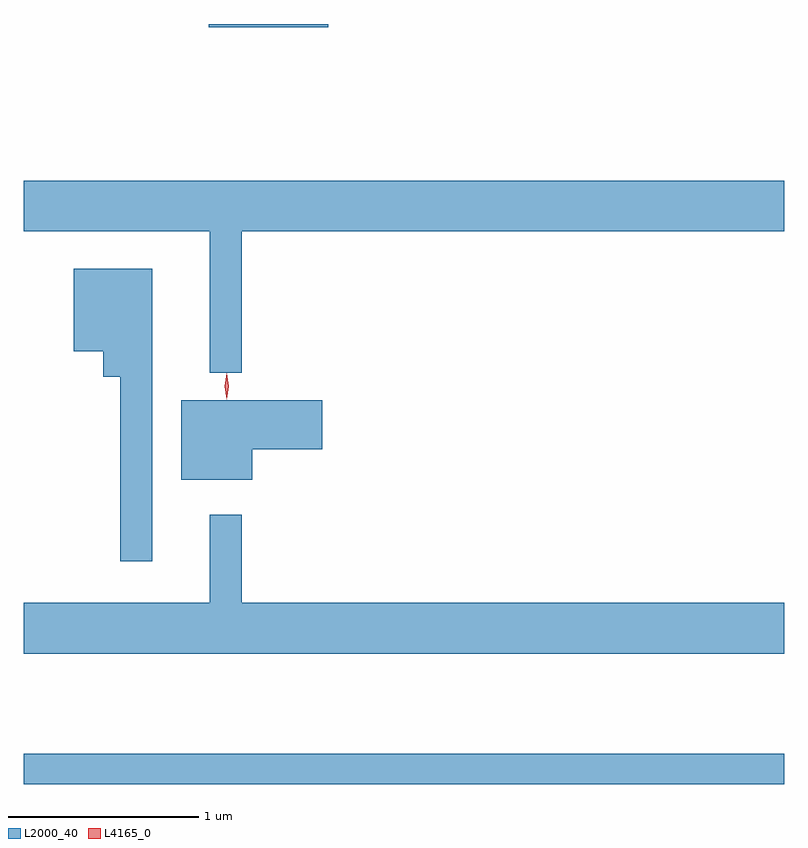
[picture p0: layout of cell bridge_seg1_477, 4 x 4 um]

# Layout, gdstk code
import gdstk
lib = gdstk.Library(unit=1e-6, precision=1e-09)
def R(c, l, rs):  # rectangles x0, y0, x1, y1
    for r in rs: c.add(gdstk.rectangle(r[:2], r[2:], *l))
def P(c, l, *ps):  # polygons
    for p in ps: c.add(gdstk.Polygon(p, *l))
L2000_40 = (2000, 40)
L4165_0 = (4165, 0)

bridge_seg1_477 = lib.new_cell('bridge_seg1_477')
R(bridge_seg1_477, L2000_40, [(617.593,898.891,621.593,899.049), (618.566,902.871,619.194,902.887)])
P(bridge_seg1_477, L2000_40, [(618.739,901.796),(621.593,901.796),(621.593,902.064),(617.593,902.064),(617.593,901.796),(618.571,901.796),(618.571,901.053),(618.739,901.053)],
  [(618.269,901.599),(617.856,901.599),(617.856,901.166),(618.011,901.166),(618.011,901.031),(618.101,901.031),(618.101,900.063),(618.269,900.063)],
  [(618.794,900.651),(619.164,900.651),(619.164,900.909),(618.421,900.909),(618.421,900.491),(618.794,900.491)],
  [(621.593,899.844),(618.739,899.844),(618.739,900.308),(618.571,900.308),(618.571,899.844),(617.593,899.844),(617.593,899.576),(621.593,899.576)])
P(bridge_seg1_477, L4165_0, [(618.661,900.914),(618.651,900.982),(618.66,901.05),(618.661,901.05),(618.661,901.05),(618.671,900.982),(618.662,900.914),(618.662,900.914)],
  [(618.662,900.92),(618.662,900.921),(618.652,900.984),(618.66,901.046),(618.661,901.047),(618.661,901.046),(618.671,900.984),(618.662,900.921)])

lib.write_gds('bridge_seg1_477.gds')
